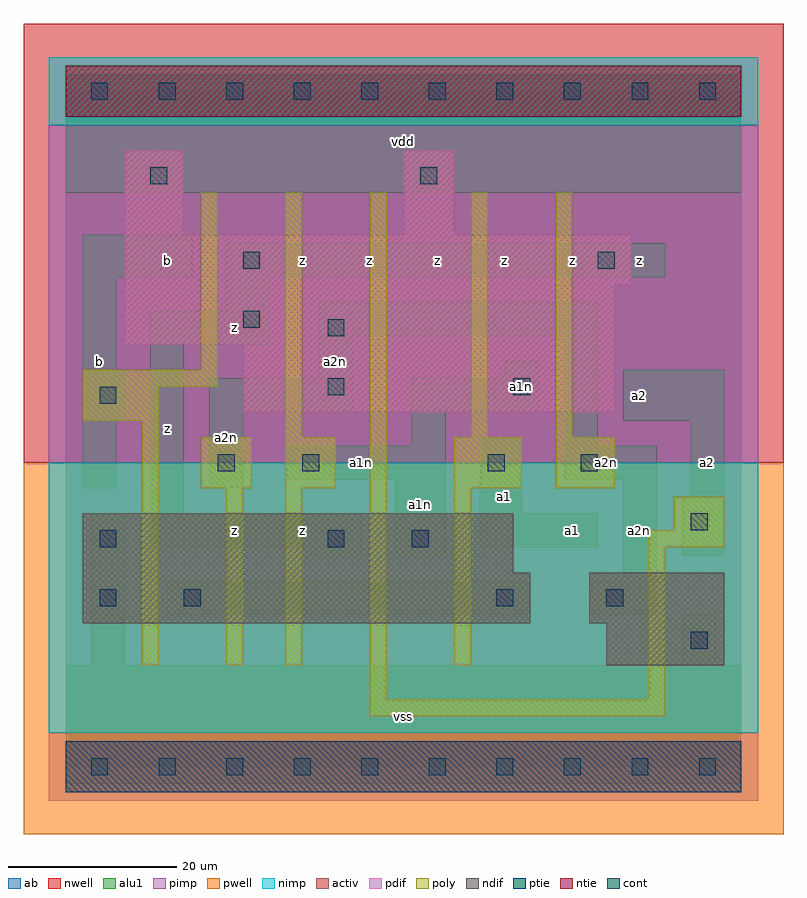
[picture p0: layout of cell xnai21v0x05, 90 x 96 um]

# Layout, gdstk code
import gdstk
lib = gdstk.Library(unit=1e-6, precision=1e-09)
def R(c, l, rs):  # rectangles x0, y0, x1, y1
    for r in rs: c.add(gdstk.rectangle(r[:2], r[2:], *l))
def A(c, l, x, y, w, h, nx, ny, dx, dy):  # array of equal rectangles
    R(c, l, [(x+i*dx, y+j*dy, x+i*dx+w, y+j*dy+h) for i in range(nx) for j in range(ny)])
ndif = (3, 0)
pdif = (4, 0)
ntie = (5, 0)
ptie = (6, 0)
cont = (25, 0)
pwell = (41, 0)
nwell = (42, 0)
activ = (43, 0)
pimp = (44, 0)
nimp = (45, 0)
poly = (46, 0)
alu1 = (49, 0)
ab = (63, 0)

xnai21v0x05 = lib.new_cell('xnai21v0x05')
R(xnai21v0x05, ndif, [(64,12,78,17), (2,17,55,23), (62,17,78,23), (2,23,53,30)])
R(xnai21v0x05, pdif, [(21,42,65,50), (7,50,65,57), (7,57,67,63), (7,63,14,73), (40,63,46,73)])
R(xnai21v0x05, ntie, [(0,77,80,83)])
R(xnai21v0x05, ptie, [(0,-3,80,3)])
A(xnai21v0x05, cont, 3, -1, 2, 2, 10, 2, 8, 80)
R(xnai21v0x05, cont, [(74,14,76,16), (4,19,6,21), (14,19,16,21), (51,19,53,21), (64,19,66,21), (4,26,6,28), (31,26,33,28), (41,26,43,28), (74,28,76,30), (18,35,20,37), (28,35,30,37), (50,35,52,37), (61,35,63,37), (4,43,6,45), (31,44,33,46), (53,44,55,46), (31,51,33,53), (21,52,23,54), (21,59,23,61), (63,59,65,61), (10,69,12,71), (42,69,44,71)])
R(xnai21v0x05, pwell, [(-5,-8,85,36)])
R(xnai21v0x05, nwell, [(-5,36,85,88)])
R(xnai21v0x05, activ, [(0,-3,80,3), (64,12,78,17), (2,17,55,23), (62,17,78,23), (2,23,53,30), (21,42,65,50), (7,50,65,57), (7,57,67,63), (7,63,14,73), (40,63,46,73), (0,77,80,83)])
R(xnai21v0x05, pimp, [(-2,-4,82,4), (-2,36,82,76)])
R(xnai21v0x05, nimp, [(-2,4,82,36), (-2,76,82,84)])
R(xnai21v0x05, poly, [(36,6,71,8), (36,8,38,68), (69,8,71,26), (9,12,11,41), (19,12,21,33), (26,12,28,33), (46,12,48,33), (69,26,78,28), (72,28,78,32), (16,33,22,39), (26,33,32,39), (46,33,54,39), (58,33,65,39), (26,39,28,68), (48,39,50,68), (58,39,60,68), (2,41,11,45), (2,45,18,47), (16,47,18,68)])
R(xnai21v0x05, alu1, [(0,-2,80,12), (3,12,7,30), (73,12,77,18), (12,18,55,22), (62,18,70,22), (66,22,70,34), (29,25,35,26), (39,25,45,34), (73,25,78,32), (10,26,35,30), (49,26,63,30), (10,30,14,50), (49,30,54,39), (74,32,78,41), (2,33,6,41), (17,33,21,42), (26,34,45,38), (59,34,70,38), (41,38,45,42), (59,38,63,51), (2,41,7,47), (66,41,78,47), (17,42,34,46), (41,42,56,46), (30,46,34,51), (52,46,56,48), (2,47,6,58), (10,50,24,54), (30,51,63,55), (19,54,24,58), (2,58,15,63), (19,58,71,62), (0,68,80,82)])
R(xnai21v0x05, ab, [(0,0,80,80)])
xnai21v0x05.add(gdstk.Label('a2n', (32,48), layer=49, texttype=0))
xnai21v0x05.add(gdstk.Label('a2n', (19,39), layer=49, texttype=0))
xnai21v0x05.add(gdstk.Label('a1n', (35,36), layer=49, texttype=0))
xnai21v0x05.add(gdstk.Label('a1n', (42,31), layer=49, texttype=0))
xnai21v0x05.add(gdstk.Label('a1n', (54,45), layer=49, texttype=0))
xnai21v0x05.add(gdstk.Label('a2n', (68,28), layer=49, texttype=0))
xnai21v0x05.add(gdstk.Label('a2n', (64,36), layer=49, texttype=0))
xnai21v0x05.add(gdstk.Label('z', (12,40), layer=49, texttype=0))
xnai21v0x05.add(gdstk.Label('b', (4,48), layer=49, texttype=0))
xnai21v0x05.add(gdstk.Label('b', (12,60), layer=49, texttype=0))
xnai21v0x05.add(gdstk.Label('z', (20,28), layer=49, texttype=0))
xnai21v0x05.add(gdstk.Label('z', (28,28), layer=49, texttype=0))
xnai21v0x05.add(gdstk.Label('z', (20,52), layer=49, texttype=0))
xnai21v0x05.add(gdstk.Label('z', (28,60), layer=49, texttype=0))
xnai21v0x05.add(gdstk.Label('z', (36,60), layer=49, texttype=0))
xnai21v0x05.add(gdstk.Label('vss', (40,6), layer=49, texttype=0))
xnai21v0x05.add(gdstk.Label('a1', (52,32), layer=49, texttype=0))
xnai21v0x05.add(gdstk.Label('z', (52,60), layer=49, texttype=0))
xnai21v0x05.add(gdstk.Label('z', (44,60), layer=49, texttype=0))
xnai21v0x05.add(gdstk.Label('vdd', (40,74), layer=49, texttype=0))
xnai21v0x05.add(gdstk.Label('a1', (60,28), layer=49, texttype=0))
xnai21v0x05.add(gdstk.Label('a2', (76,36), layer=49, texttype=0))
xnai21v0x05.add(gdstk.Label('a2', (68,44), layer=49, texttype=0))
xnai21v0x05.add(gdstk.Label('z', (68,60), layer=49, texttype=0))
xnai21v0x05.add(gdstk.Label('z', (60,60), layer=49, texttype=0))

lib.write_gds('xnai21v0x05.gds')
